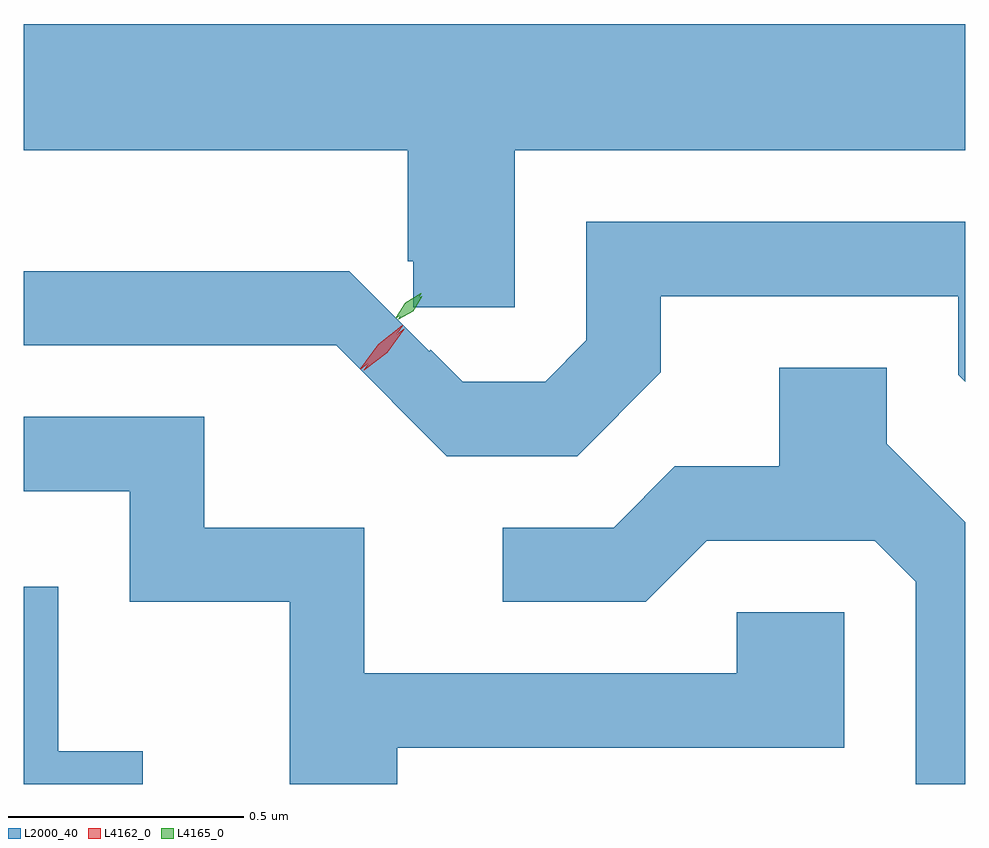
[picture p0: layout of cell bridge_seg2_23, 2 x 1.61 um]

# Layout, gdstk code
import gdstk
lib = gdstk.Library(unit=1e-6, precision=1e-09)
def P(c, l, *ps):  # polygons
    for p in ps: c.add(gdstk.Polygon(p, *l))
L2000_40 = (2000, 40)
L4162_0 = (4162, 0)
L4165_0 = (4165, 0)

bridge_seg2_23 = lib.new_cell('bridge_seg2_23')
P(bridge_seg2_23, L2000_40, [(1664.589,1021.676),(1665.546,1021.676),(1665.546,1021.944),(1663.546,1021.944),(1663.546,1021.676),(1664.362,1021.676),(1664.362,1021.44),(1664.373,1021.44),(1664.373,1021.342),(1664.589,1021.342)],
  [(1664.899,1021.204),(1664.899,1021.366),(1665.531,1021.366),(1665.531,1021.199),(1665.546,1021.184),(1665.546,1021.524),(1664.741,1021.524),(1664.741,1021.272),(1664.654,1021.184),(1664.479,1021.184),(1664.411,1021.252),(1664.407,1021.249),(1664.237,1021.419),(1663.546,1021.419),(1663.546,1021.261),(1664.21,1021.261),(1664.445,1021.026),(1664.722,1021.026)],
  [(1665.546,1020.885),(1665.379,1021.052),(1665.379,1021.214),(1665.151,1021.214),(1665.151,1021.004),(1664.929,1021.004),(1664.799,1020.874),(1664.563,1020.874),(1664.563,1020.716),(1664.867,1020.716),(1664.997,1020.846),(1665.354,1020.846),(1665.441,1020.759),(1665.441,1020.329),(1665.546,1020.329)],
  [(1664.339,1020.406),(1665.289,1020.406),(1665.289,1020.694),(1665.061,1020.694),(1665.061,1020.564),(1664.269,1020.564),(1664.269,1020.874),(1663.929,1020.874),(1663.929,1021.109),(1663.546,1021.109),(1663.546,1020.951),(1663.771,1020.951),(1663.771,1020.716),(1664.111,1020.716),(1664.111,1020.329),(1664.339,1020.329)],
  [(1663.799,1020.399),(1663.619,1020.399),(1663.619,1020.748),(1663.546,1020.748),(1663.546,1020.329),(1663.799,1020.329)])
P(bridge_seg2_23, L4162_0, [(1664.261,1021.21),(1664.261,1021.211),(1664.299,1021.264),(1664.35,1021.304),(1664.351,1021.304),(1664.351,1021.303),(1664.313,1021.25),(1664.262,1021.21)],
  [(1664.268,1021.208),(1664.268,1021.208),(1664.304,1021.259),(1664.354,1021.296),(1664.354,1021.296),(1664.354,1021.295),(1664.318,1021.245),(1664.269,1021.208)])
P(bridge_seg2_23, L4165_0, [(1664.336,1021.319),(1664.336,1021.32),(1664.356,1021.352),(1664.389,1021.372),(1664.39,1021.372),(1664.39,1021.371),(1664.37,1021.338),(1664.336,1021.319)],
  [(1664.341,1021.317),(1664.341,1021.317),(1664.359,1021.349),(1664.391,1021.366),(1664.392,1021.366),(1664.392,1021.365),(1664.373,1021.334),(1664.342,1021.317)])

lib.write_gds('bridge_seg2_23.gds')
